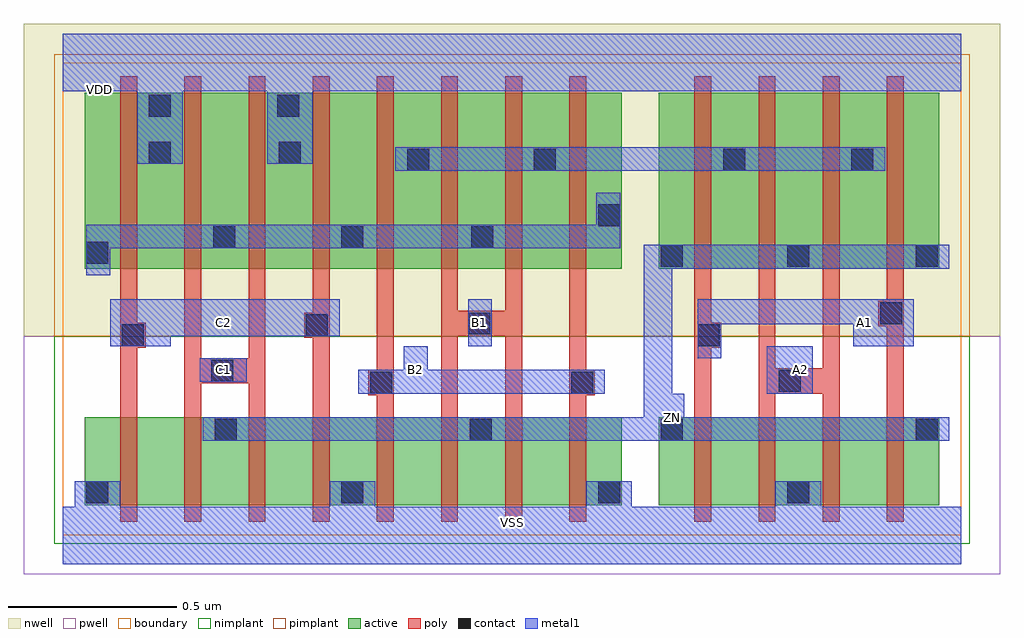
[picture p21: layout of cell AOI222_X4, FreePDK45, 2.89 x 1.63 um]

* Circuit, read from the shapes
.subckt AOI222_X4 A1 A2 B1 B2 C1 C2 VDD VSS ZN
M1 n1 C2 VSS VSUBS nfet w=0.26u l=0.05u
M2 ZN C1 n1 VSUBS nfet w=0.26u l=0.05u
M3 n2 C1 ZN VSUBS nfet w=0.26u l=0.05u
M4 VSS C2 n2 VSUBS nfet w=0.26u l=0.05u
M5 n3 B2 VSS VSUBS nfet w=0.26u l=0.05u
M6 ZN B1 n3 VSUBS nfet w=0.26u l=0.05u
M7 n4 B1 ZN VSUBS nfet w=0.26u l=0.05u
M8 VSS B2 n4 VSUBS nfet w=0.26u l=0.05u
M9 n5 A1 ZN VSUBS nfet w=0.26u l=0.05u
M10 VSS A2 n5 VSUBS nfet w=0.26u l=0.05u
M11 n6 A2 VSS VSUBS nfet w=0.26u l=0.05u
M12 ZN A1 n6 VSUBS nfet w=0.26u l=0.05u
M13 VDD C2 n7 n8 pfet w=0.52u l=0.05u m=2
M14 n7 C1 VDD n8 pfet w=0.52u l=0.05u m=2
M15 n9 B2 n7 n8 pfet w=0.52u l=0.05u m=2
M16 n7 B1 n9 n8 pfet w=0.52u l=0.05u m=2
M17 n9 A1 ZN n8 pfet w=0.52u l=0.05u m=2
M18 ZN A2 n9 n8 pfet w=0.52u l=0.05u m=2
.ends

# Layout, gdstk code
import gdstk
lib = gdstk.Library(unit=1e-6, precision=1e-10)
def R(c, l, rs):  # rectangles x0, y0, x1, y1
    for r in rs: c.add(gdstk.rectangle(r[:2], r[2:], *l))
def P(c, l, *ps):  # polygons
    for p in ps: c.add(gdstk.Polygon(p, *l))
active = (1, 0)
pwell = (2, 0)
nwell = (3, 0)
nimplant = (4, 0)
pimplant = (5, 0)
poly = (9, 0)
contact = (10, 0)
metal1 = (11, 0)
boundary = (235, 0)

aoi222_x4 = lib.new_cell('AOI222_X4')
R(aoi222_x4, active, [(0.065,0.09,1.655,0.35), (1.765,0.09,2.595,0.35), (0.065,0.79,1.655,1.31), (1.765,0.79,2.595,1.31)])
R(aoi222_x4, pwell, [(-0.115,-0.115,2.775,0.59)])
R(aoi222_x4, nwell, [(-0.115,0.59,2.775,1.515)])
R(aoi222_x4, nimplant, [(-0.025,-0.025,2.685,0.59)])
R(aoi222_x4, pimplant, [(-0.025,0.59,2.685,1.425)])
P(aoi222_x4, poly, [(0.17,0.04),(0.22,0.04),(0.22,0.555),(0.245,0.555),(0.245,0.63),(0.22,0.63),(0.22,1.36),(0.17,1.36)],
  [(0.36,0.04),(0.41,0.04),(0.41,0.45),(0.55,0.45),(0.55,0.04),(0.6,0.04),(0.6,1.36),(0.55,1.36),(0.55,0.525),(0.41,0.525),(0.41,1.36),(0.36,1.36)],
  [(0.715,0.585),(0.74,0.585),(0.74,0.04),(0.79,0.04),(0.79,1.36),(0.74,1.36),(0.74,0.66),(0.715,0.66)],
  [(0.905,0.415),(0.93,0.415),(0.93,0.04),(0.98,0.04),(0.98,1.36),(0.93,1.36),(0.93,0.49),(0.905,0.49)],
  [(1.12,0.04),(1.17,0.04),(1.17,0.59),(1.31,0.59),(1.31,0.04),(1.36,0.04),(1.36,1.36),(1.31,1.36),(1.31,0.665),(1.17,0.665),(1.17,1.36),(1.12,1.36)],
  [(1.5,0.04),(1.55,0.04),(1.55,0.415),(1.575,0.415),(1.575,0.49),(1.55,0.49),(1.55,1.36),(1.5,1.36)],
  [(1.87,0.04),(1.92,0.04),(1.92,0.555),(1.95,0.555),(1.95,0.63),(1.92,0.63),(1.92,1.36),(1.87,1.36)],
  [(2.06,0.04),(2.11,0.04),(2.11,0.42),(2.25,0.42),(2.25,0.04),(2.3,0.04),(2.3,1.36),(2.25,1.36),(2.25,0.495),(2.11,0.495),(2.11,1.36),(2.06,1.36)],
  [(2.415,0.62),(2.44,0.62),(2.44,0.04),(2.49,0.04),(2.49,1.36),(2.44,1.36),(2.44,0.695),(2.415,0.695)])
R(aoi222_x4, contact, [(0.07,0.095,0.135,0.16), (0.825,0.095,0.89,0.16), (1.585,0.095,1.65,0.16), (2.145,0.095,2.21,0.16), (0.45,0.28,0.515,0.345), (1.205,0.28,1.27,0.345), (1.77,0.28,1.835,0.345), (2.525,0.28,2.59,0.345), (0.91,0.42,0.975,0.485), (1.505,0.42,1.57,0.485), (2.12,0.425,2.185,0.49), (0.44,0.455,0.505,0.52), (0.175,0.56,0.24,0.625), (1.88,0.56,1.945,0.625), (0.72,0.59,0.785,0.655), (1.2,0.595,1.265,0.66), (2.42,0.625,2.485,0.69), (1.77,0.795,1.835,0.86), (2.145,0.795,2.21,0.86), (2.525,0.795,2.59,0.86), (0.07,0.805,0.135,0.87), (0.445,0.85,0.51,0.915), (0.825,0.85,0.89,0.915), (1.21,0.85,1.275,0.915), (1.585,0.915,1.65,0.98), (1.02,1.08,1.085,1.145), (1.395,1.08,1.46,1.145), (1.955,1.08,2.02,1.145), (2.335,1.08,2.4,1.145), (0.255,1.1,0.32,1.165), (0.64,1.1,0.705,1.165), (0.255,1.24,0.32,1.305), (0.635,1.24,0.7,1.305)])
R(aoi222_x4, metal1, [(2.085,0.42,2.22,0.56), (0.405,0.455,0.545,0.525), (1.2,0.56,1.27,0.7), (0.985,1.08,2.435,1.15)])
P(aoi222_x4, metal1, [(0.14,0.56),(0.32,0.56),(0.32,0.59),(0.82,0.59),(0.82,0.7),(0.14,0.7)],
  [(0.875,0.42),(1.605,0.42),(1.605,0.49),(1.08,0.49),(1.08,0.56),(1.01,0.56),(1.01,0.49),(0.875,0.49)],
  [(0.07,0.77),(0.14,0.77),(0.14,0.85),(1.65,0.85),(1.65,1.015),(1.58,1.015),(1.58,0.92),(0.07,0.92)],
  [(1.88,0.525),(1.95,0.525),(1.95,0.625),(2.34,0.625),(2.34,0.56),(2.52,0.56),(2.52,0.7),(1.88,0.7)],
  [(1.805,0.79),(2.625,0.79),(2.625,0.86),(1.72,0.86),(1.72,0.35),(0.415,0.35),(0.415,0.28),(2.625,0.28),(2.625,0.35),(1.84,0.35),(1.84,0.42),(1.805,0.42)],
  [(0,-0.085),(2.66,-0.085),(2.66,0.085),(2.245,0.085),(2.245,0.16),(2.11,0.16),(2.11,0.085),(1.685,0.085),(1.685,0.16),(1.55,0.16),(1.55,0.085),(0.925,0.085),(0.925,0.16),(0.79,0.16),(0.79,0.085),(0.17,0.085),(0.17,0.16),(0.035,0.16),(0.035,0.085),(0,0.085)],
  [(0,1.315),(0.22,1.315),(0.22,1.1),(0.355,1.1),(0.355,1.315),(0.605,1.315),(0.605,1.1),(0.74,1.1),(0.74,1.315),(2.66,1.315),(2.66,1.485),(0,1.485)])
R(aoi222_x4, boundary, [(0,0,2.66,1.4)])
aoi222_x4.add(gdstk.Label('A1', (2.375,0.63), layer=11, texttype=0))
aoi222_x4.add(gdstk.Label('A2', (2.185,0.49), layer=11, texttype=0))
aoi222_x4.add(gdstk.Label('B1', (1.235,0.63), layer=11, texttype=0))
aoi222_x4.add(gdstk.Label('B2', (1.045,0.49), layer=11, texttype=0))
aoi222_x4.add(gdstk.Label('C1', (0.475,0.49), layer=11, texttype=0))
aoi222_x4.add(gdstk.Label('C2', (0.475,0.63), layer=11, texttype=0))
aoi222_x4.add(gdstk.Label('VDD', (0.11,1.32), layer=11, texttype=0))
aoi222_x4.add(gdstk.Label('VSS', (1.33,0.0375), layer=11, texttype=0))
aoi222_x4.add(gdstk.Label('ZN', (1.805,0.35), layer=11, texttype=0))

lib.write_gds('AOI222_X4.gds')
